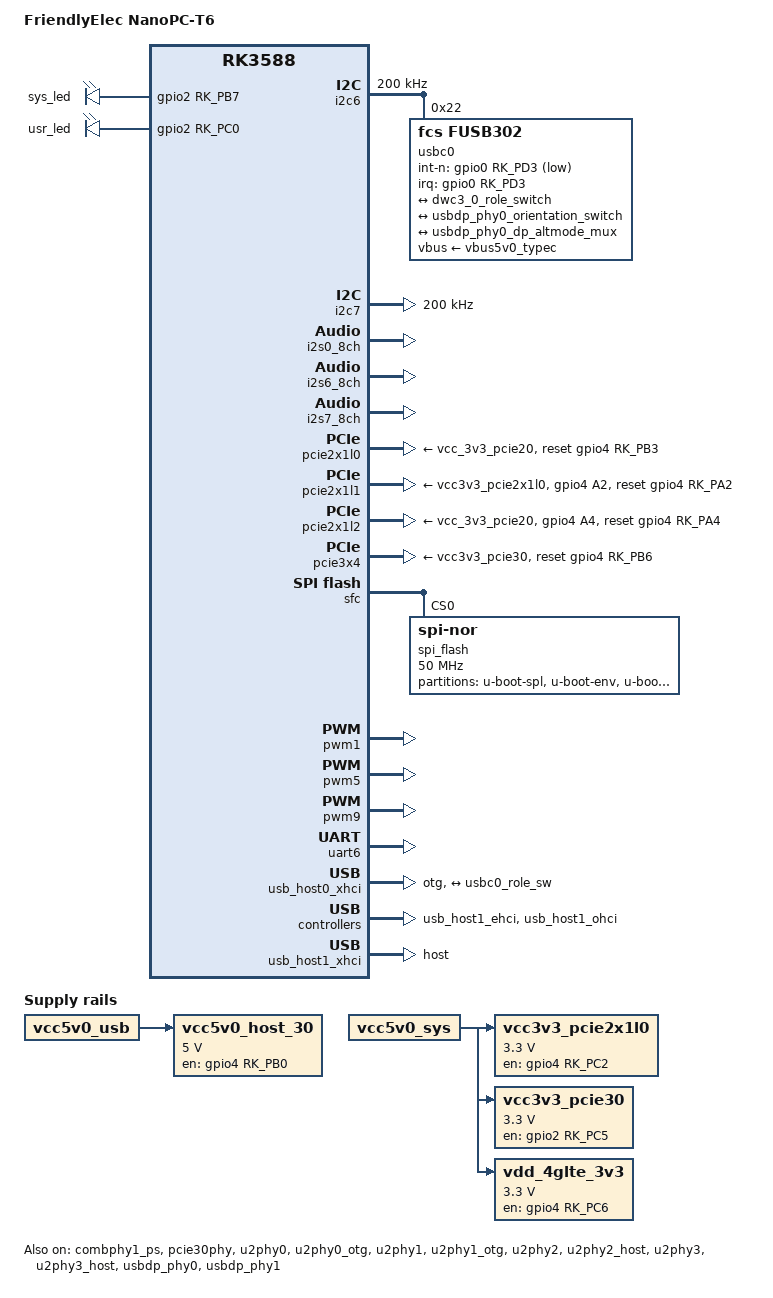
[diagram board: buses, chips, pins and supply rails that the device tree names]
// SPDX-License-Identifier: (GPL-2.0+ OR MIT)
/*
 * Copyright (c) 2021 Rockchip Electronics Co., Ltd.
 * Copyright (c) 2023 Thomas McKahan
 *
 */

/dts-v1/;

#include "rk3588.dtsi"
#include "rk3588s-nanopi-r6-common.dtsi"

/ {
	model = "FriendlyElec NanoPC-T6";
	compatible = "friendlyelec,nanopc-t6", "rockchip,rk3588";

	aliases {
		ethernet0 = &r8125_u10;
		ethernet1 = &r8125_u12;
	};

	gpio_leds: gpio-leds {
		compatible = "gpio-leds";

		sys_led: led-0 {
			gpios = <&gpio2 RK_PB7 GPIO_ACTIVE_HIGH>;
			label = "sys_led";
			linux,default-trigger = "heartbeat";
			pinctrl-names = "default";
			pinctrl-0 = <&sys_led_pin>;
		};

		usr_led: led-1 {
			gpios = <&gpio2 RK_PC0 GPIO_ACTIVE_HIGH>;
			label = "usr_led";
			pinctrl-names = "default";
			pinctrl-0 = <&usr_led_pin>;
		};
	};

	vcc5v0_host_30: vcc5v0-host-30 {
		compatible = "regulator-fixed";
		enable-active-high;
		gpio = <&gpio4 RK_PB0 GPIO_ACTIVE_HIGH>;
		pinctrl-names = "default";
		pinctrl-0 = <&vcc5v0_host30_en>;
		regulator-name = "vcc5v0_host_30";
		regulator-min-microvolt = <5000000>;
		regulator-max-microvolt = <5000000>;
		vin-supply = <&vcc5v0_usb>;
	};

	vcc3v3_pcie2x1l0: vcc3v3-pcie2x1l0-regulator {
		compatible = "regulator-fixed";
		enable-active-high;
		gpio = <&gpio4 RK_PC2 GPIO_ACTIVE_HIGH>;
		pinctrl-names = "default";
		pinctrl-0 = <&pcie_m2_1_pwren>;
		regulator-name = "vcc3v3_pcie2x1l0";
		regulator-min-microvolt = <3300000>;
		regulator-max-microvolt = <3300000>;
		vin-supply = <&vcc5v0_sys>;
	};

	vcc3v3_pcie30: vcc3v3-pcie30-regulator {
		compatible = "regulator-fixed";
		enable-active-high;
		gpios = <&gpio2 RK_PC5 GPIO_ACTIVE_HIGH>;
		pinctrl-names = "default";
		pinctrl-0 = <&pcie_m2_0_pwren>;
		regulator-name = "vcc3v3_pcie30";
		regulator-min-microvolt = <3300000>;
		regulator-max-microvolt = <3300000>;
		vin-supply = <&vcc5v0_sys>;
	};

	vdd_4glte_3v3: vdd-4glte-3v3 {
		compatible = "regulator-fixed";
		enable-active-high;
		gpio = <&gpio4 RK_PC6 GPIO_ACTIVE_HIGH>;
		regulator-always-on;
		regulator-boot-on;
		regulator-name = "vdd_4glte_3v3";
		regulator-min-microvolt = <3300000>;
		regulator-max-microvolt = <3300000>;
		startup-delay-us = <10000>;
		vin-supply = <&vcc5v0_sys>;
	};
};

&combphy1_ps {
	status = "okay";
};

&gmac1 {
	status = "disabled";
};

&i2c3 {
	pinctrl-0 = <&i2c3m0_xfer>;
	/* connected with MIPI-CSI0 */
};

&i2c4 {
	pinctrl-0 = <&i2c4m3_xfer>;
	/* connected with MIPI-DSI1 */
};

&i2c5 {
	pinctrl-0 = <&i2c5m0_xfer>;
	/* connected with MIPI-DSI0 */
};

&i2c6 {
	clock-frequency = <200000>;
	status = "okay";

	usbc0: fusb302@22 {
		compatible = "fcs,fusb302";
		reg = <0x22>;
		interrupt-parent = <&gpio0>;
		interrupts = <RK_PD3 IRQ_TYPE_LEVEL_LOW>;
		int-n-gpios = <&gpio0 RK_PD3 GPIO_ACTIVE_LOW>;
		pinctrl-0 = <&usbc0_int>;
		pinctrl-names = "default";
		vbus-supply = <&vbus5v0_typec>;
		status = "okay";

		ports {
			#address-cells = <1>;
			#size-cells = <0>;

			port@0 {
				reg = <0>;
				usbc0_role_sw: endpoint@0 {
					remote-endpoint = <&dwc3_0_role_switch>;
				};
			};
		};

		usb_con: connector {
			compatible = "usb-c-connector";
			label = "USB-C";
			data-role = "dual";
			power-role = "dual";
			try-power-role = "sink";
			op-sink-microwatt = <1000000>;
			source-pdos = <PDO_FIXED(5000, 2000, PDO_FIXED_USB_COMM)>;
			sink-pdos = <PDO_FIXED(5000, 3000, PDO_FIXED_USB_COMM)>;

			altmodes {
				#address-cells = <1>;
				#size-cells = <0>;

				altmode@0 {
					reg = <0>;
					svid = <0xff01>;
					vdo = <0xffffffff>;
				};
			};

			ports {
				#address-cells = <1>;
				#size-cells = <0>;

				port@0 {
					reg = <0>;
					usbc0_orien_sw: endpoint {
						remote-endpoint = <&usbdp_phy0_orientation_switch>;
					};
				};

				port@1 {
					reg = <1>;
					dp_altmode_mux: endpoint {
						remote-endpoint = <&usbdp_phy0_dp_altmode_mux>;
					};
				};
			};
		};
	};
};

&i2c7 {
	clock-frequency = <200000>;
	status = "okay";
};

&i2c8 {
	pinctrl-0 = <&i2c8m2_xfer>;
	/* connected with Header_2.54MM */
};

&i2s0_8ch {
	status = "okay";
	pinctrl-0 = <&i2s0_lrck
		     &i2s0_mclk
		     &i2s0_sclk
		     &i2s0_sdi0
		     &i2s0_sdo0>;
};

&i2s6_8ch {
	status = "okay";
};

&i2s7_8ch {
	status = "okay";
};

&mach {
	hwrev = <1>;
	model = "NanoPC T6";
};

&mdio1 {
	status = "disabled";
};

&pcie2x1l0 {
	reset-gpios = <&gpio4 RK_PB3 GPIO_ACTIVE_HIGH>;
	rockchip,init-delay-ms = <100>;
	vpcie3v3-supply = <&vcc_3v3_pcie20>;
	status = "okay";

	pcie20@0,0 {
		reg = <0x00200000 0 0 0 0>;
		#address-cells = <3>;
		#size-cells = <2>;

		r8125_u12: pcie20@0,0,0 {
			reg = <0x000000 0 0 0 0>;
			local-mac-address = [ 00 00 00 00 00 00 ];
		};
	};
};

&pcie2x1l1 {
	reset-gpios = <&gpio4 RK_PA2 GPIO_ACTIVE_HIGH>;
	vpcie3v3-supply = <&vcc3v3_pcie2x1l0>;
	pinctrl-names = "default";
	pinctrl-0 = <&pcie2_1_rst>;
	status = "okay";
};

&pcie2x1l2 {
	reset-gpios = <&gpio4 RK_PA4 GPIO_ACTIVE_HIGH>;
	vpcie3v3-supply = <&vcc_3v3_pcie20>;
	pinctrl-names = "default";
	pinctrl-0 = <&pcie2_2_rst>;
	status = "okay";

	pcie40@0,0 {
		reg = <0x00400000 0 0 0 0>;
		#address-cells = <3>;
		#size-cells = <2>;

		r8125_u10: pcie40@0,0,0 {
			reg = <0x000000 0 0 0 0>;
			local-mac-address = [ 00 00 00 00 00 00 ];
		};
	};
};

&pcie30phy {
	status = "okay";
};

&pcie3x4 {
	reset-gpios = <&gpio4 RK_PB6 GPIO_ACTIVE_HIGH>;
	vpcie3v3-supply = <&vcc3v3_pcie30>;
	status = "okay";
};

&sfc {
	pinctrl-names = "default";
	pinctrl-0 = <&fspim1_pins>;
	#address-cells = <1>;
	#size-cells = <0>;
	status = "okay";

	spi_flash: spi-flash@0 {
		compatible = "jedec,spi-nor";
		reg = <0x0>;
		spi-max-frequency = <50000000>;
		spi-rx-bus-width = <4>;
		spi-tx-bus-width = <1>;
		status = "okay";

		partitions {
			compatible = "fixed-partitions";
			#address-cells = <1>;
			#size-cells = <1>;

			partition@0 {
				label = "u-boot-spl";
				reg = <0x0 0xe0000>;
			};

			partition@e0000 {
				label = "u-boot-env";
				reg = <0xe0000 0x20000>;
			};

			partition@100000 {
				label = "u-boot";
				reg = <0x100000 0x200000>;
			};

			partition@300000 {
				label = "splash";
				reg = <0x300000 0x100000>;
			};

			partition@400000 {
				label = "filesystem";
				reg = <0x400000 0xc00000>;
			};
		};
	};
};

&pinctrl {
	gpio-leds {
		sys_led_pin: sys-led-pin {
			rockchip,pins = <2 RK_PB7 RK_FUNC_GPIO &pcfg_pull_none>;
		};

		usr_led_pin: usr-led-pin {
			rockchip,pins = <2 RK_PC0 RK_FUNC_GPIO &pcfg_pull_none>;
		};
	};

	headphone {
		hp_det: hp-det {
			rockchip,pins = <1 RK_PC4 RK_FUNC_GPIO &pcfg_pull_none>;
		};
	};

	hdmi {
		hdmirx_det: hdmirx-det {
			rockchip,pins = <1 RK_PD5 RK_FUNC_GPIO &pcfg_pull_up>;
		};
	};

	lcd {
		/omit-if-no-ref/
		lcd_rst0_gpio: lcd-rst0-gpio {
			rockchip,pins = <3 RK_PA6 RK_FUNC_GPIO &pcfg_pull_none>;
		};

		/omit-if-no-ref/
		lcd_rst1_gpio: lcd-rst1-gpio {
			rockchip,pins = <4 RK_PA3 RK_FUNC_GPIO &pcfg_pull_none>;
		};

		/omit-if-no-ref/
		touch_dsi0_gpio: touch-dsi0-gpio {
			rockchip,pins =
				<3 RK_PC0 RK_FUNC_GPIO &pcfg_pull_up>,
				<3 RK_PC1 RK_FUNC_GPIO &pcfg_pull_none>;
		};

		/omit-if-no-ref/
		touch_dsi1_gpio: touch-dsi1-gpio {
			rockchip,pins =
				<4 RK_PA0 RK_FUNC_GPIO &pcfg_pull_up>,
				<4 RK_PA1 RK_FUNC_GPIO &pcfg_pull_none>;
		};
	};

	pcie {
		pcie2_0_rst: pcie2-0-rst {
			rockchip,pins = <4 RK_PB3 RK_FUNC_GPIO &pcfg_pull_none>;
		};

		pcie2_1_rst: pcie2-1-rst {
			rockchip,pins = <4 RK_PA2 RK_FUNC_GPIO &pcfg_pull_none>;
		};

		pcie2_2_rst: pcie2-2-rst {
			rockchip,pins = <4 RK_PA4 RK_FUNC_GPIO &pcfg_pull_none>;
		};

		pcie_m2_0_pwren: pcie-m20-pwren {
			rockchip,pins = <2 RK_PC5 RK_FUNC_GPIO &pcfg_pull_none>;
		};

		pcie_m2_1_pwren: pcie-m21-pwren {
			rockchip,pins = <4 RK_PC2 RK_FUNC_GPIO &pcfg_pull_none>;
		};
	};

	usb {
		vcc5v0_host30_en: vcc5v0-host30-en {
			rockchip,pins = <4 RK_PB0 RK_FUNC_GPIO &pcfg_pull_none>;
		};
	};
};

&pwm1 {
	pinctrl-0 = <&pwm1m1_pins>;
	status = "okay";
};

&pwm2 {
	pinctrl-0 = <&pwm2m1_pins>;
	/* connected with MIPI-DSI0 */
};

/* GPIO Connector */
&pwm5 {
	pinctrl-0 = <&pwm5m1_pins>;
	status = "okay";
};

&pwm9 {
	pinctrl-0 = <&pwm9m0_pins>;
	status = "okay";
};


&pwm11 {
	pinctrl-0 = <&pwm11m3_pins>;
	/* connected with MIPI-DSI1 */
};

&spi0 {
	num-cs = <1>;
	pinctrl-0 = <&spi0m2_cs0 &spi0m2_pins>;
	status = "disabled";

	spidev0: spidev@0 {
		compatible = "rockchip,spidev";
		reg = <0>;
		spi-max-frequency = <5000000>;
		status = "disabled";
	};
};

&spi4 {
	num-cs = <1>;
	pinctrl-0 = <&spi4m1_cs0 &spi4m1_pins>;
	status = "disabled";
};

&uart0 {
	pinctrl-0 = <&uart0m0_xfer>;
	status = "disabled";
};

&uart3 {
	pinctrl-0 = <&uart3m1_xfer>;
	status = "disabled";
};

&uart4 {
	pinctrl-0 = <&uart4m2_xfer>;
	status = "disabled";
};

&uart6 {
	pinctrl-0 = <&uart6m1_xfer>;
	status = "okay";
};

&uart7 {
	pinctrl-0 = <&uart7m2_xfer>;
	status = "disabled";
};

&uart8 {
	pinctrl-0 = <&uart8m1_xfer>;
	status = "disabled";
};

&u2phy0 {
	status = "okay";
};

&u2phy0_otg {
	rockchip,typec-vbus-det;
	status = "okay";
};

&u2phy1 {
	status = "okay";
};

&u2phy1_otg {
	phy-supply = <&vcc5v0_host_30>;
	status = "okay";
};

&u2phy2 {
	status = "okay";
};

&u2phy2_host {
	status = "okay";
};

&u2phy3 {
	status = "okay";
};

&u2phy3_host {
	status = "okay";
};

&usb_host0_xhci {
	dr_mode = "otg";
	usb-role-switch;
	status = "okay";

	port {
		#address-cells = <1>;
		#size-cells = <0>;
		dwc3_0_role_switch: endpoint@0 {
			reg = <0>;
			remote-endpoint = <&usbc0_role_sw>;
		};
	};
};

&usb_host1_ehci {
	status = "okay";
};

&usb_host1_ohci {
	status = "okay";
};

&usb_host1_xhci {
	dr_mode = "host";
	snps,xhci-trb-ent-quirk;
	status = "okay";
};


&usbdp_phy0 {
	orientation-switch;
	rockchip,dp-lane-mux = <0 1 2 3 >;
	svid = <0xff01>;
	sbu1-dc-gpios = <&gpio4 RK_PA6 GPIO_ACTIVE_HIGH>;
	sbu2-dc-gpios = <&gpio4 RK_PA7 GPIO_ACTIVE_HIGH>;
	status = "okay";

	port {
		#address-cells = <1>;
		#size-cells = <0>;
		usbdp_phy0_orientation_switch: endpoint@0 {
			reg = <0>;
			remote-endpoint = <&usbc0_orien_sw>;
		};

		usbdp_phy0_dp_altmode_mux: endpoint@1 {
			reg = <1>;
			remote-endpoint = <&dp_altmode_mux>;
		};
	};
};

&usbdp_phy1 {
	status = "okay";
};

&vcc_3v3_sd_s0 {
	/delete-property/ enable-active-high;
	gpio = <&gpio4 RK_PA5 GPIO_ACTIVE_LOW>;
};
